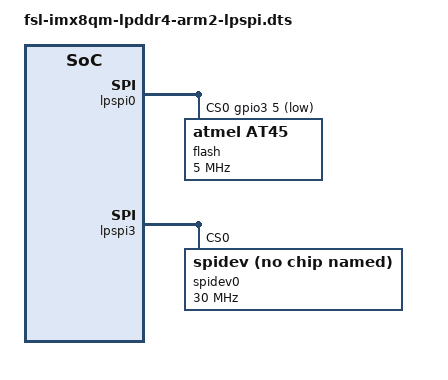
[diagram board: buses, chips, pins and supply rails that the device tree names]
/*
 * Copyright 2017 NXP
 *
 * This program is free software; you can redistribute it and/or
 * modify it under the terms of the GNU General Public License
 * as published by the Free Software Foundation; either version 2
 * of the License, or (at your option) any later version.
 *
 * This program is distributed in the hope that it will be useful,
 * but WITHOUT ANY WARRANTY; without even the implied warranty of
 * MERCHANTABILITY or FITNESS FOR A PARTICULAR PURPOSE.  See the
 * GNU General Public License for more details.
 */

#include "fsl-imx8qm-lpddr4-arm2.dts"

&iomuxc {

	imx8qm-arm2 {

		pinctrl_lpspi0: lpspi0grp {
			fsl,pins = <
				SC_P_SPI0_SCK_DMA_SPI0_SCK		0x0600004c
				SC_P_SPI0_SDO_DMA_SPI0_SDO		0x0600004c
				SC_P_SPI0_SDI_DMA_SPI0_SDI		0x0600004c
			>;
		};

		pinctrl_lpspi0_cs: lpspi0cs {
			fsl,pins = <
				SC_P_SPI0_CS0_LSIO_GPIO3_IO05		0x21
			>;
		};

		pinctrl_lpspi3: lpspi3grp {
			fsl,pins = <
				SC_P_SPI3_SCK_DMA_SPI3_SCK		0x0600004c
				SC_P_SPI3_SDO_DMA_SPI3_SDO		0x0600004c
				SC_P_SPI3_SDI_DMA_SPI3_SDI		0x0600004c
				SC_P_SPI3_CS0_DMA_SPI3_CS0		0x0600004c
			>;
		};

	};
};

&lpspi0 {
	#address-cells = <1>;
	#size-cells = <0>;
	fsl,spi-num-chipselects = <1>;
	pinctrl-names = "default";
	pinctrl-0 = <&pinctrl_lpspi0 &pinctrl_lpspi0_cs>;
	cs-gpios = <&gpio3 5 GPIO_ACTIVE_LOW>;
	status = "okay";

	flash: at45db041e@0 {
		#address-cells = <1>;
		#size-cells = <1>;
		compatible = "atmel,at45", "atmel,dataflash";
		spi-max-frequency = <5000000>;
		reg = <0>;
        };
};

&lpspi3 {
	#address-cells = <1>;
	#size-cells = <0>;
	fsl,spi-num-chipselects = <1>;
	pinctrl-names = "default";
	pinctrl-0 = <&pinctrl_lpspi3>;
	status = "okay";

	spidev0: spi@0 {
		reg = <0>;
		compatible = "rohm,dh2228fv";
		spi-max-frequency = <30000000>;
	};

};
